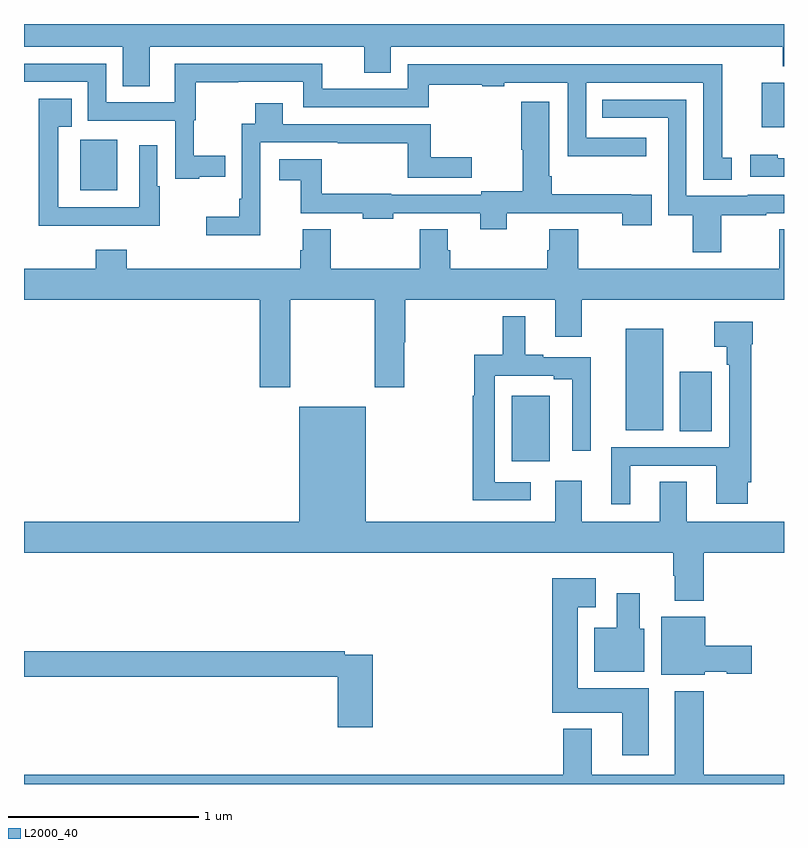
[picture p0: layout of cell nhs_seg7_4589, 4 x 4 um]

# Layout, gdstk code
import gdstk
lib = gdstk.Library(unit=1e-6, precision=1e-09)
def R(c, l, rs):  # rectangles x0, y0, x1, y1
    for r in rs: c.add(gdstk.rectangle(r[:2], r[2:], *l))
def P(c, l, *ps):  # polygons
    for p in ps: c.add(gdstk.Polygon(p, *l))
L2000_40 = (2000, 40)

nhs_seg7_4589 = lib.new_cell('nhs_seg7_4589')
R(nhs_seg7_4589, L2000_40, [(401.567,1067.699,401.767,1068.043), (402.452,1067.857,402.619,1068.169), (402.167,1067.861,402.364,1068.397), (399.296,1069.124,399.49,1069.392), (402.884,1069.457,403,1069.69)])
P(nhs_seg7_4589, L2000_40, [(399.661,1069.88),(400.79,1069.88),(400.79,1069.744),(400.93,1069.744),(400.93,1069.88),(402.994,1069.88),(402.994,1069.778),(403,1069.778),(403,1070),(399,1070),(399,1069.88),(399.521,1069.88),(399.521,1069.672),(399.661,1069.672)],
  [(402.724,1069.297),(402.674,1069.297),(402.674,1069.788),(401.019,1069.788),(401.019,1069.659),(400.569,1069.659),(400.569,1069.791),(399.794,1069.791),(399.794,1069.587),(399.432,1069.587),(399.432,1069.791),(399,1069.791),(399,1069.695),(399.336,1069.695),(399.336,1069.491),(399.795,1069.491),(399.795,1069.185),(399.923,1069.185),(399.923,1069.196),(400.06,1069.196),(400.06,1069.306),(399.894,1069.306),(399.894,1069.494),(399.904,1069.494),(399.904,1069.693),(400.127,1069.693),(400.127,1069.695),(400.47,1069.695),(400.47,1069.563),(401.131,1069.563),(401.131,1069.68),(401.412,1069.68),(401.412,1069.672),(401.528,1069.672),(401.528,1069.692),(401.862,1069.692),(401.862,1069.304),(402.274,1069.304),(402.274,1069.401),(401.958,1069.401),(401.958,1069.692),(402.576,1069.692),(402.576,1069.18),(402.724,1069.18)],
  [(399.293,1068.939),(399.715,1068.939),(399.715,1069.146),(399.702,1069.146),(399.702,1069.363),(399.606,1069.363),(399.606,1069.035),(399.181,1069.035),(399.181,1069.46),(399.251,1069.46),(399.251,1069.606),(399.077,1069.606),(399.077,1068.937),(399.293,1068.937)],
  [(402.669,1068.994),(402.906,1068.994),(402.906,1069.005),(403,1069.005),(403,1069.101),(402.81,1069.101),(402.81,1069.095),(402.486,1069.095),(402.486,1069.602),(402.043,1069.602),(402.043,1069.506),(402.39,1069.506),(402.39,1068.994),(402.521,1068.994),(402.521,1068.798),(402.669,1068.798)],
  [(400.944,1068.974),(400.944,1069.005),(401.402,1069.005),(401.402,1068.92),(401.542,1068.92),(401.542,1069.005),(402.149,1069.005),(402.149,1068.942),(402.305,1068.942),(402.305,1069.101),(402.197,1069.101),(402.197,1069.103),(401.777,1069.103),(401.777,1069.198),(401.764,1069.198),(401.764,1069.591),(401.617,1069.591),(401.617,1069.338),(401.624,1069.338),(401.624,1069.121),(401.406,1069.121),(401.406,1069.101),(400.932,1069.101),(400.932,1069.106),(400.567,1069.106),(400.567,1069.288),(400.344,1069.288),(400.344,1069.178),(400.457,1069.178),(400.457,1069.005),(400.784,1069.005),(400.784,1068.974)],
  [(400.244,1069.377),(400.651,1069.377),(400.651,1069.372),(401.019,1069.372),(401.019,1069.191),(401.356,1069.191),(401.356,1069.3),(401.14,1069.3),(401.14,1069.473),(400.363,1069.473),(400.363,1069.582),(400.216,1069.582),(400.216,1069.476),(400.146,1069.476),(400.146,1069.081),(400.134,1069.081),(400.134,1068.986),(399.96,1068.986),(399.96,1068.887),(400.244,1068.887)],
  [(403,1069.294),(402.966,1069.294),(402.966,1069.312),(402.822,1069.312),(402.822,1069.197),(403,1069.197)],
  [(401.795,1068.354),(401.935,1068.354),(401.935,1068.548),(403,1068.548),(403,1068.919),(402.976,1068.919),(402.976,1068.712),(401.918,1068.712),(401.918,1068.92),(401.765,1068.92),(401.765,1068.81),(401.753,1068.81),(401.753,1068.712),(401.243,1068.712),(401.243,1068.81),(401.23,1068.81),(401.23,1068.92),(401.083,1068.92),(401.083,1068.712),(400.614,1068.712),(400.614,1068.92),(400.466,1068.92),(400.466,1068.81),(400.454,1068.81),(400.454,1068.712),(399.542,1068.712),(399.542,1068.811),(399.377,1068.811),(399.377,1068.712),(399,1068.712),(399,1068.548),(400.241,1068.548),(400.241,1068.087),(400.401,1068.087),(400.401,1068.548),(400.846,1068.548),(400.846,1068.087),(401.001,1068.087),(401.001,1068.326),(401.006,1068.326),(401.006,1068.548),(401.795,1068.548)],
  [(401.668,1067.589),(401.478,1067.589),(401.478,1068.15),(401.789,1068.15),(401.789,1068.13),(401.886,1068.13),(401.886,1067.754),(401.984,1067.754),(401.984,1068.246),(401.734,1068.246),(401.734,1068.259),(401.638,1068.259),(401.638,1068.463),(401.521,1068.463),(401.521,1068.259),(401.37,1068.259),(401.37,1068.043),(401.362,1068.043),(401.362,1067.493),(401.668,1067.493)],
  [(402.19,1067.676),(402.644,1067.676),(402.644,1067.475),(402.808,1067.475),(402.808,1067.587),(402.827,1067.587),(402.827,1068.315),(402.835,1068.315),(402.835,1068.433),(402.632,1068.433),(402.632,1068.302),(402.699,1068.302),(402.699,1068.206),(402.711,1068.206),(402.711,1067.772),(402.092,1067.772),(402.092,1067.472),(402.19,1067.472)],
  [(402.578,1067.216),(403,1067.216),(403,1067.38),(402.487,1067.38),(402.487,1067.591),(402.347,1067.591),(402.347,1067.38),(401.935,1067.38),(401.935,1067.596),(401.795,1067.596),(401.795,1067.38),(400.798,1067.38),(400.798,1067.986),(400.448,1067.986),(400.448,1067.38),(399,1067.38),(399,1067.216),(402.418,1067.216),(402.418,1067.096),(402.425,1067.096),(402.425,1066.964),(402.578,1066.964)],
  [(402.289,1066.504),(401.914,1066.504),(401.914,1066.931),(402.01,1066.931),(402.01,1067.083),(401.78,1067.083),(401.78,1066.376),(402.149,1066.376),(402.149,1066.152),(402.289,1066.152)],
  [(402.265,1066.818),(402.241,1066.818),(402.241,1067.005),(402.119,1067.005),(402.119,1066.822),(402.002,1066.822),(402.002,1066.592),(402.265,1066.592)],
  [(402.582,1066.592),(402.699,1066.592),(402.699,1066.58),(402.829,1066.58),(402.829,1066.727),(402.586,1066.727),(402.586,1066.879),(402.353,1066.879),(402.353,1066.574),(402.582,1066.574)],
  [(400.835,1066.68),(400.688,1066.68),(400.688,1066.7),(399,1066.7),(399,1066.564),(400.652,1066.564),(400.652,1066.299),(400.835,1066.299)],
  [(403,1066.048),(402.578,1066.048),(402.578,1066.489),(402.425,1066.489),(402.425,1066.048),(401.989,1066.048),(401.989,1066.291),(401.837,1066.291),(401.837,1066.048),(399,1066.048),(399,1066),(403,1066)])

lib.write_gds('nhs_seg7_4589.gds')
